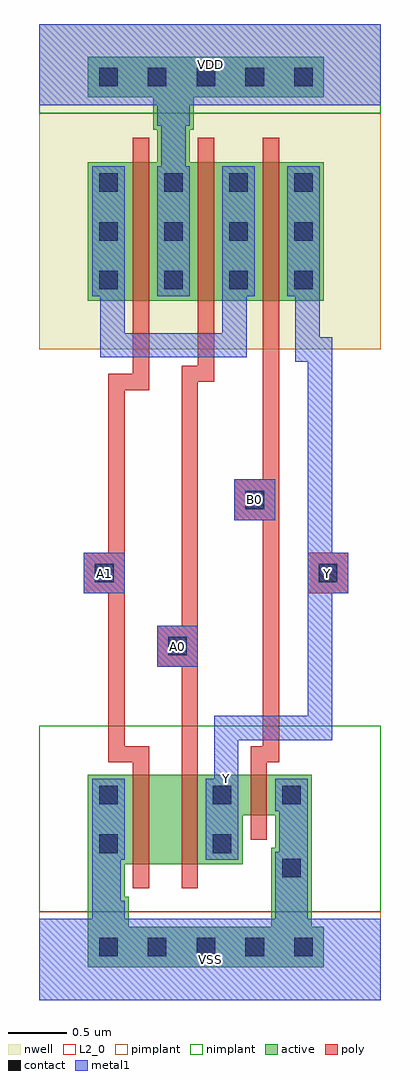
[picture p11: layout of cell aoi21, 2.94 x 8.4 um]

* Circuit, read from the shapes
.subckt aoi21 A0 A1 B0 VDD VSS Y
M1 n1 A1 VSS VSS nfet w=0.77u l=0.14u
M2 Y A0 n1 VSS nfet w=0.77u l=0.14u
M3 VSS B0 Y VSS nfet w=0.35u l=0.14u
M4 VDD A1 n2 VDD pfet w=1.19u l=0.14u
M5 n2 A0 VDD VDD pfet w=1.19u l=0.14u
M6 Y B0 n2 VDD pfet w=1.19u l=0.14u
.ends

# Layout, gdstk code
import gdstk
lib = gdstk.Library(unit=1e-6, precision=1e-09)
def R(c, l, rs):  # rectangles x0, y0, x1, y1
    for r in rs: c.add(gdstk.rectangle(r[:2], r[2:], *l))
def A(c, l, x, y, w, h, nx, ny, dx, dy):  # array of equal rectangles
    R(c, l, [(x+i*dx, y+j*dy, x+i*dx+w, y+j*dy+h) for i in range(nx) for j in range(ny)])
def P(c, l, *ps):  # polygons
    for p in ps: c.add(gdstk.Polygon(p, *l))
L2_0 = (2, 0)
nwell = (3, 0)
active = (6, 0)
poly = (17, 0)
pimplant = (25, 0)
nimplant = (26, 0)
contact = (30, 0)
metal1 = (31, 0)

adk_poly_m1 = lib.new_cell('ADK_poly_m1')
R(adk_poly_m1, poly, [(-0.175,-0.175,0.175,0.175)])
R(adk_poly_m1, contact, [(-0.08,-0.08,0.08,0.08)])
R(adk_poly_m1, metal1, [(-0.175,-0.175,0.175,0.175)])

aoi21 = lib.new_cell('aoi21')
R(aoi21, L2_0, [(0,0,2.94,2.36)])
R(aoi21, nwell, [(0,5.6,2.94,7.63), (0,5.6,2.94,8.4)])
R(aoi21, active, [(0.42,0.28,2.45,0.63), (0.42,0.63,0.77,0.89), (1.995,0.63,2.345,1.31), (0.42,0.89,0.735,1.17), (0.42,1.17,0.805,1.94), (2.03,1.31,2.345,1.59), (1.96,1.59,2.345,1.94), (0.42,6.02,2.45,7.21), (0.42,6.02,0.805,7.21), (2.065,6.02,2.45,7.21), (1.015,7.21,1.295,7.49), (0.98,7.49,1.33,7.77), (0.42,7.77,2.45,8.12)])
P(aoi21, active, [(1.75,1.17),(1.75,1.59),(2.345,1.59),(2.345,1.94),(0.42,1.94),(0.42,1.17)])
A(aoi21, poly, 0.805, 5.81, 0.14, 0.21, 3, 2, 0.56, 1.4)
A(aoi21, poly, 0.805, 6.02, 0.14, 1.19, 3, 1, 0.56, 0)
R(aoi21, poly, [(0.805,0.96,0.945,1.17), (1.225,0.96,1.365,1.17), (0.805,1.17,0.945,1.94), (1.225,1.17,1.365,1.94), (1.82,1.38,1.96,1.59), (1.82,1.59,1.96,1.94), (0.805,1.94,0.945,2.15), (1.225,1.94,1.365,2.15), (1.82,1.94,1.96,2.15)])
P(aoi21, poly, [(1.82,2.045),(2.065,2.045),(2.065,5.845),(1.925,5.845),(1.925,2.185),(1.82,2.185)],
  [(1.82,2.045),(2.065,2.045),(2.065,5.845),(1.925,5.845),(1.925,2.185),(1.82,2.185)],
  [(1.82,2.045),(2.065,2.045),(2.065,5.845),(1.925,5.845),(1.925,2.185),(1.82,2.185)],
  [(1.82,2.045),(2.065,2.045),(2.065,5.845),(1.925,5.845),(1.925,2.185),(1.82,2.185)])
R(aoi21, pimplant, [(0,0,2.94,0.76), (0,5.6,2.94,7.63)])
R(aoi21, nimplant, [(0,0.76,2.94,2.36), (0,7.63,2.94,8.4)])
A(aoi21, contact, 0.515, 0.375, 0.16, 0.16, 5, 2, 0.42, 7.49)
A(aoi21, contact, 0.515, 6.115, 0.16, 0.16, 4, 3, 0.56, 0.42)
R(aoi21, contact, [(2.09,1.055,2.25,1.215), (0.515,1.265,0.675,1.425), (1.495,1.265,1.655,1.425), (0.515,1.685,0.675,1.845), (1.495,1.685,1.655,1.845), (2.09,1.685,2.25,1.845)])
A(aoi21, metal1, 0.455, 6.055, 0.28, 1.12, 4, 1, 0.56, 0)
R(aoi21, metal1, [(0,0,2.94,0.7), (0.455,0.7,0.735,0.855), (2.03,0.7,2.31,1.275), (0.455,0.855,0.7,1.205), (0.455,1.205,0.735,1.905), (1.435,1.205,1.715,1.905), (2.065,1.275,2.31,1.625), (2.03,1.625,2.31,1.905), (1.015,2.87,1.365,3.22), (0.385,3.5,0.735,3.85), (2.31,3.5,2.66,3.85), (1.68,4.13,2.03,4.48), (1.05,7.175,1.26,7.525), (1.015,7.525,1.295,7.7), (0,7.7,2.94,8.4)])
aoi21.add(gdstk.FlexPath([(1.61,1.905),(1.61,2.34),(2.415,2.34),(2.415,5.6),(2.31,5.6),(2.31,6.055)], 0.21, ends="flush", simple_path=True, layer=31, datatype=0))  # metal1
aoi21.add(gdstk.FlexPath([(1.68,6.055),(1.68,5.635),(0.63,5.635),(0.63,6.055)], 0.21, ends="flush", simple_path=True, layer=31, datatype=0))  # metal1
aoi21.add(gdstk.FlexPath([(0.875,5.845),(0.875,5.32),(0.665,5.32),(0.665,3.85)], 0.14, ends="flush", simple_path=True, layer=17, datatype=0))  # poly
aoi21.add(gdstk.FlexPath([(1.995,5.845),(1.995,2.115),(1.82,2.115)], 0.14, ends="flush", simple_path=True, layer=17, datatype=0))  # poly
aoi21.add(gdstk.FlexPath([(0.665,3.5),(0.665,2.115),(0.945,2.115)], 0.14, ends="flush", simple_path=True, layer=17, datatype=0))  # poly
aoi21.add(gdstk.FlexPath([(1.435,5.845),(1.435,5.39),(1.295,5.39),(1.295,2.115)], 0.14, ends="flush", simple_path=True, layer=17, datatype=0))  # poly
aoi21.add(gdstk.Reference(adk_poly_m1, (0.56,3.675)))
aoi21.add(gdstk.Reference(adk_poly_m1, (1.19,3.045)))
aoi21.add(gdstk.Reference(adk_poly_m1, (2.485,3.675)))
aoi21.add(gdstk.Reference(adk_poly_m1, (1.855,4.305)))
aoi21.add(gdstk.Label('VDD', (1.47,8.05), layer=131, texttype=0))
aoi21.add(gdstk.Label('VSS', (1.47,0.35), layer=131, texttype=0))
aoi21.add(gdstk.Label('A0', (1.19,3.045), layer=131, texttype=0))
aoi21.add(gdstk.Label('Y', (2.485,3.675), layer=131, texttype=0))
aoi21.add(gdstk.Label('A1', (0.56,3.675), layer=131, texttype=0))
aoi21.add(gdstk.Label('B0', (1.855,4.305), layer=131, texttype=0))
aoi21.add(gdstk.Label('VDD', (1.47,8.05), layer=31, texttype=0))
aoi21.add(gdstk.Label('VSS', (1.47,0.35), layer=31, texttype=0))
aoi21.add(gdstk.Label('Y', (2.485,3.675), layer=31, texttype=0))
aoi21.add(gdstk.Label('Y', (1.61,1.905), layer=31, texttype=0))
aoi21.add(gdstk.Label('A1', (0.56,3.675), layer=31, texttype=0))
aoi21.add(gdstk.Label('A0', (1.19,3.045), layer=31, texttype=0))
aoi21.add(gdstk.Label('B0', (1.855,4.305), layer=31, texttype=0))

lib.write_gds('aoi21.gds')
